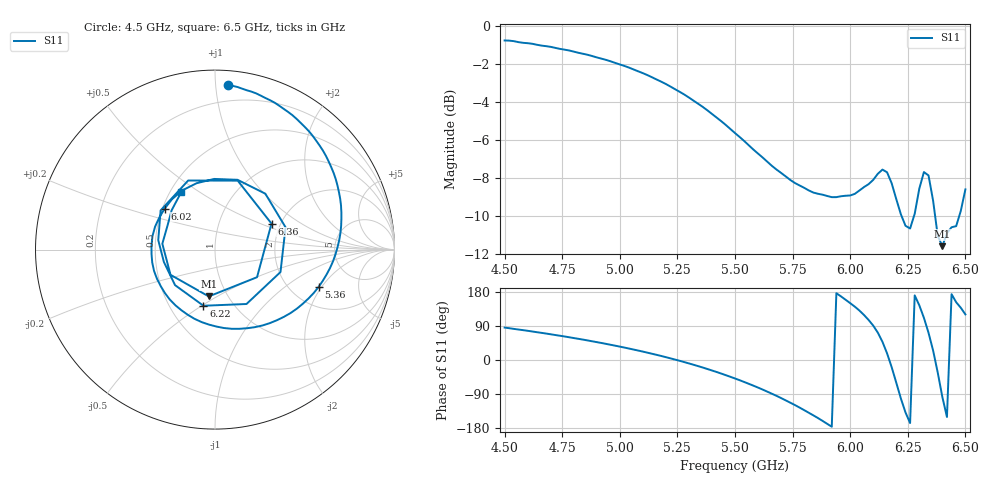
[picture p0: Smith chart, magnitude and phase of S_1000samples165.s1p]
! TOUCHSTONE file generated by CST MICROWAVE STUDIO
! Date and time: Thu Oct 27 05:34:56 2022
! Project name: L.cst
! Parameters = {Di=1.27; Epsilon_r=1.56; InnerDiameter=1.27; Length=2; Lf=10; Lg=60; OuterConductorThickness=0.2921; OuterDiameter=3.6; Wf=3; Wp=41.2; de=1.5; df=6.8; g=0.8; gx=3.53485; gy=3.08981; h=2.34; hf=1.524; px=13.1511; py=13.9304; w=9.7; wx=9.6163; wy=10.8406}
! Header version: 2018
! Port assignment regex: !\s*Touchstone port\s*([0-9]+)\s*=\s*(CST MWS port|CST DS port)\s*([0-9]+|Zmin|Zmax)\s*\(\"(.*)\"\)(\s*mode\s*([0-9]+))?.*
! Touchstone port assignment:
! Touchstone port 1 = CST MWS port 1 ("")
# GHz S DB R 50
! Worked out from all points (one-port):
!   101 points, 4.5 GHz to 6.5 GHz, reference 50 ohm
!   lowest |S11| = -11.6 dB at 6.4 GHz (marker M1), VSWR 1.71, Z = 40.9 - j22.9 ohm
!   |S11| at or under -10 dB: 6.223 GHz to 6.277 GHz (54.16 MHz wide, 0.867 % of centre); 6.369 GHz to 6.473 GHz (104.8 MHz wide, 1.63 % of centre)
!   S11 on the Smith chart (normalised r, x): 4.5 GHz: 0.09, +1.08; 5.36 GHz: 2.80, -1.87; 6.02 GHz: 0.51, +0.27; 6.22 GHz: 0.73, -0.51; 6.36 GHz: 1.79, +0.59; 6.5 GHz: 0.57, +0.42
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4.5  -0.74 85.6
4.76  -1.22 62.1
5  -2.00 35.3
5.26  -3.45 -2.1
5.36  -4.25 -19.9
5.5  -5.63 -48.7
5.62  -6.92 -78.0
5.76  -8.26 -118.9
5.88  -8.88 -160.7
6  -8.92 150.0
6.02  -8.83 140.8
6.08  -8.32 105.6
6.12  -7.77 72.1
6.14  -7.55 48.0
6.16  -7.70 17.6
6.18  -8.27 -18.9
6.2  -9.11 -59.9
6.22  -9.91 -101.6
6.26  -10.66 -166.4
6.3  -8.56 144.2
6.32  -7.68 111.2
6.34  -7.86 71.8
6.36  -9.20 24.7
6.38  -11.05 -33.3
6.4  -11.59 -97.6
6.42  -10.91 -150.5
6.44  -10.60 173.6
6.5  -8.60 120.3
